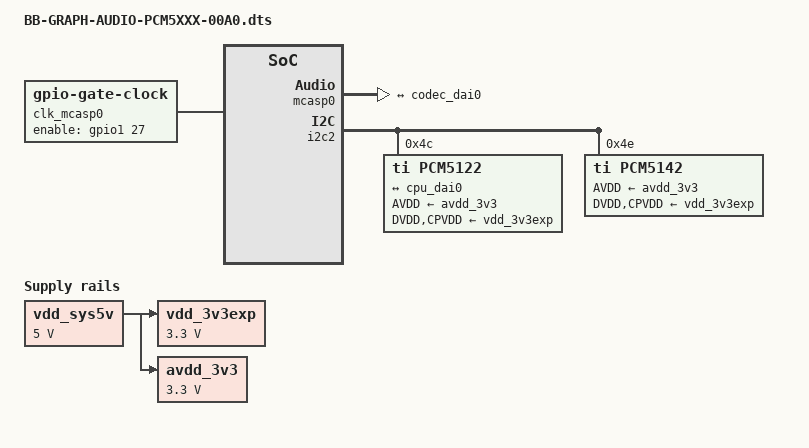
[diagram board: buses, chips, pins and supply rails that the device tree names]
/*
 * Copyright (C) 2012 Texas Instruments Incorporated - http://www.ti.com/
 *
 * This program is free software; you can redistribute it and/or modify
 * it under the terms of the GNU General Public License version 2 as
 * published by the Free Software Foundation.
 */

/dts-v1/;
/plugin/;

#include <dt-bindings/gpio/gpio.h>
#include <dt-bindings/pinctrl/am33xx.h>

/*
 * Helper to show loaded overlays under: /proc/device-tree/chosen/overlays/
 */
&{/chosen} {
	overlays {
		BB-GRAPH-AUDIO-PCM5XXX-00A0 = __TIMESTAMP__;
	};
};


/*
 * Free up the pins used by the cape from the pinmux helpers.
 */
&ocp {
	P9_25_pinmux { status = "disabled"; };  /* mcasp0_ahclkx */
	P9_28_pinmux { status = "disabled"; };  /* mcasp0_axr2 */
	P9_29_pinmux { status = "disabled"; };  /* mcasp0_fsx */
	P9_30_pinmux { status = "disabled"; };  /* mcasp0_axr0 */
	P9_31_pinmux { status = "disabled"; };  /* mcasp0_aclkx */
};

&am33xx_pinmux {
	mcasp0_pins: mcasp0_pins {
		pinctrl-single,pins = <
			AM33XX_PADCONF(AM335X_PIN_MCASP0_AHCLKX, PIN_INPUT_PULLUP, MUX_MODE0)	/* P9_25 */
			AM33XX_PADCONF(AM335X_PIN_MCASP0_AHCLKR, PIN_OUTPUT_PULLDOWN, MUX_MODE2)/* P9_28 mcasp0_axr2 */
			AM33XX_PADCONF(AM335X_PIN_MCASP0_FSX, PIN_OUTPUT_PULLUP, MUX_MODE0)	/* P9_29 */
			AM33XX_PADCONF(AM335X_PIN_MCASP0_AXR0, PIN_OUTPUT_PULLDOWN, MUX_MODE0)	/* P9_30 mcasp0_axr0 */
			AM33XX_PADCONF(AM335X_PIN_MCASP0_ACLKX, PIN_OUTPUT_PULLDOWN, MUX_MODE0)	/* P9_31 */
			AM33XX_PADCONF(AM335X_PIN_GPMC_A11, PIN_OUTPUT_PULLDOWN, MUX_MODE7)	/* gpmc_a11.GPIO1_27 - Clock disable */
		>;
	};
};

&mcasp0 {
	#sound-dai-cells = <0>;
	pinctrl-names = "default";
	pinctrl-0 = <&mcasp0_pins>;
	status = "okay";
	op-mode = <0>;	/* MCASP_IIS_MODE */
	tdm-slots = <2>;
	serial-dir = <	/* 0: INACTIVE, 1: TX, 2: RX */
			0 0 1 0  // Pi DAC+
//			1 0 0 0  // Pi DAC Pro
//			1 0 1 0  // Both
		>;
	tx-num-evt = <32>;
	rx-num-evt = <32>;

	mcasp0_port: port {
		cpu_dai0: endpoint@0 {
			dai-format = "i2s";
			frame-master = <&mcasp0_port>;
			bitclock-master = <&mcasp0_port>;
			remote-endpoint = <&codec_dai0>;
			clocks = <&clk_mcasp0>;
		};
/*
		// Note this does NOT work! Cannot get sound from both codecs. :(
		cpu_dai1: endpoint@1 {
			dai-format = "i2s";
			frame-master = <&mcasp0_port>;
			bitclock-master = <&mcasp0_port>;
			remote-endpoint = <&codec_dai1>;
			clocks = <&clk_mcasp0>;
		};
*/
	};
};


/*
 * Raspberry Pi DAC+/PRO power supplies
 *
 * BBB-SRM does not say which 3.3 V rail is on P9 3&4.
 * https://elinux.org/BeagleBone_Power_Management says 3v3b/3v3exp. No such power
 * rail in the device tree though :( Guess I'll have to make my own?
 *
 * SYS_5V is created from VDD_5V (power plug) or USB by TPS65217C. Also missing in the device tree!
 * vdd_3v3exp (same as vdd_3v3b on the BBB) is created from VDD_5V by TL5209. Enabled by vdd_3v3aux.
 */
&{/} {
	/*  BBB SYS_5V (P9 7&8) */
	vdd_sys5v: fixedregulator-sys5v {
		compatible = "regulator-fixed";
		regulator-name = "vdd_sys5v";
		regulator-min-microvolt = <5000000>;
		regulator-max-microvolt = <5000000>;
	};

	/*  BBB VDD_3V3B/VDD_3V3EXP (P9 3&4) */
	vdd_3v3exp: fixedregulator-3v3exp {
		compatible = "regulator-fixed";
		regulator-name = "vdd_3v3exp";
		regulator-min-microvolt = <3300000>;
		regulator-max-microvolt = <3300000>;
		vin-supply = <&vdd_sys5v>;
	};

	avdd_3v3: fixedregulator-3v3 {
		compatible = "regulator-fixed";
		regulator-name = "avdd_3v3";
		regulator-min-microvolt = <3300000>;
		regulator-max-microvolt = <3300000>;
		vin-supply = <&vdd_sys5v>;
	};


	clk_mcasp0_fixed: clk_mcasp0_fixed {
		#clock-cells = <0>;
		compatible = "fixed-clock";
		clock-frequency = <24576000>;
	};

	clk_mcasp0: clk_mcasp0 {
		#clock-cells = <0>;
		compatible = "gpio-gate-clock";
		clocks = <&clk_mcasp0_fixed>;
		enable-gpios = <&gpio1 27 0>; /* BeagleBone Black Clk enable on GPIO1_27 */
	};

	sound {
		compatible = "audio-graph-card";
		label = "AmazingDAC";
/*
		routing = "codec0 Playback", "DAI0 Playback",
			  "codec1 Playback", "DAI1 Playback";
*/
		dais = <&mcasp0_port>;
        };
};

&i2c2 {
	#address-cells = <1>;
	#size-cells = <0>;
	pcm5122@4c {
		#sound-dai-cells = <0>;
		compatible = "ti,pcm5122";
		reg = <0x4c>;

		// AVDD created on-board Pi-DAC+ from RPi pin 2 = 5 V.
		AVDD-supply = <&avdd_3v3>;
		// DVDD fed directly from RPi pin 1 = 3.3 V.
		DVDD-supply = <&vdd_3v3exp>;
		// CPVDD fed directly from RPi pin 1 = 3.3 V.
		CPVDD-supply = <&vdd_3v3exp>;

//		audio-graph-card,prefix = "codec0";
		port {
			codec_dai0: endpoint {
//				audio-graph-card,convert-channels = <2>;
				remote-endpoint = <&cpu_dai0>;
			};
		};
	};
	pcm5142@4e {
		#sound-dai-cells = <0>;
		compatible = "ti,pcm5142";
		reg = <0x4e>;

		// AVDD created on-board Pi-DAC+ from RPi pin 2 = 5 V.
		AVDD-supply = <&avdd_3v3>;
		// DVDD fed directly from RPi pin 1 = 3.3 V.
		DVDD-supply = <&vdd_3v3exp>;
		// CPVDD fed directly from RPi pin 1 = 3.3 V.
		CPVDD-supply = <&vdd_3v3exp>;

//		audio-graph-card,prefix = "codec1";
/*
		port {
			codec_dai1: endpoint {
//				audio-graph-card,convert-channels = <2>;
				remote-endpoint = <&cpu_dai1>;
			};
		};
*/
	};
};
